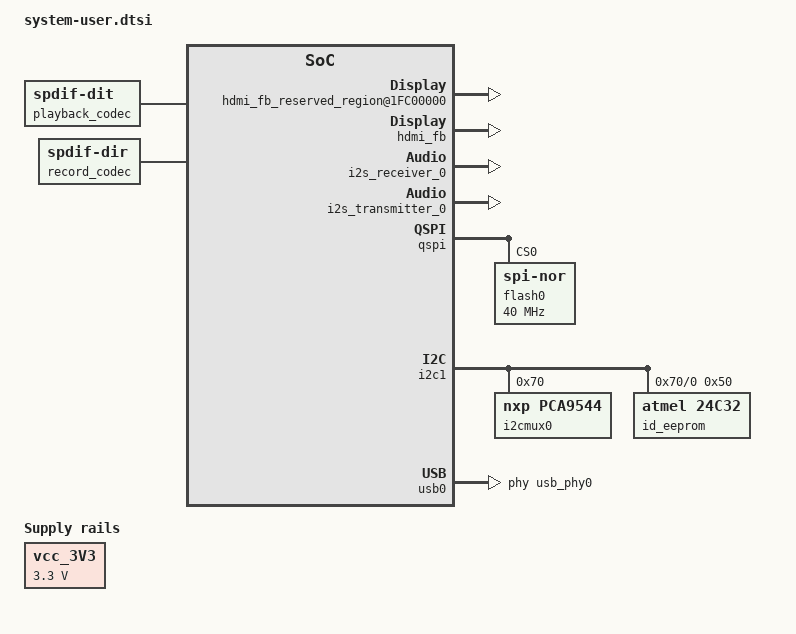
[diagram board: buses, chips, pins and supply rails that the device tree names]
/include/ "system-conf.dtsi"
/ {
};
    
    
/ {

    /*-------------------- FRAMBUFFER --------------------*/  
    #address-cells = <1>;
    #size-cells = <1>;
 
    reserved-memory {
        #address-cells = <1>;
        #size-cells = <1>;
        ranges;
        hdmi_fb_reserved_region@1FC00000 {
            //compatible = "removed-dma-pool";
            compatible = "shared-dma-pool";
            no-map;
            // 512M (M modules)
            reg = <0x1FC00000 0x400000>;
            // 128M (R modules)
            //reg = <0x7C00000 0x400000>;
        };
          
        // Second framebuffer for direct data streaming from camera to monitor is not needed.
          
        //camera_fb_reserved_region@1FC00000 {
        //    //compatible = "removed-dma-pool";
        //    compatible = "shared-dma-pool";
        //    no-map;
        //    // 512M (M modules)
        //    reg = <0x1FC00000 0x400000>;
        //    // 128M (R modules)
        //    //reg = <0x7800000 0x400000>;
        //};
                  
    };
    
    hdmi_fb: framebuffer@1FC00000 {           // HDMI out
        compatible = "simple-framebuffer";
        // 512M (M modules)
        reg = <0x1FC00000 (1280 * 720 * 4)>;    // 720p
        // 128M (R modules)
        //reg = <0x7C00000 (1280 * 720 * 4)>;   // 720p
        width = <1280>;                         // 720p
        height = <720>;                         // 720p
        stride = <(1280 * 4)>;                  // 720p
        format = "a8b8g8r8";
        status = "okay";
    };
      
    
    //camera_fb: framebuffer@0x1FC00000 {         // CAMERA in
    //    compatible = "simple-framebuffer";
    //    // 512M (M modules)
    //    reg = <0x1FC00000 (1280 * 720 * 4)>;    // 720p
    //    // 128M (R modules)
    //    //reg = <0x7800000 (1280 * 720 * 4)>;   // 720p
    //    width = <1280>;                         // 720p
    //    height = <720>;                         // 720p
    //    stride = <(1280 * 4)>;                  // 720p
    //    format = "a8b8g8r8";
    //};
    
    vcc_3V3: fixedregulator@0 {
        compatible = "regulator-fixed";
        regulator-name = "vccaux-supply";
        regulator-min-microvolt = <3300000>;
        regulator-max-microvolt = <3300000>;
        regulator-always-on;
    };
};
/*-------------------- QSPI --------------------*/     
&qspi {
    #address-cells = <1>;
    #size-cells = <0>;
    status = "okay";
    flash0: flash@0 {
        compatible = "jedec,spi-nor";
        reg = <0x0>;
        #address-cells = <1>;
        #size-cells = <1>;
         
        spi-rx-bus-width = <4>;
        spi-tx-bus-width = <4>;
        spi-max-frequency = <40000000>;
    };
};

/*-------------------- GPIO -------------------*/     
&gpio0 {
    interrupt-controller;
    #interrupt-cells = <2>;
};
/*-------------------- I2C --------------------*/     
&i2c1 {
    #address-cells = <1>;
    #size-cells = <0>;
    
    i2cmux0: i2cmux@70  {
        compatible = "nxp,pca9544";
        #address-cells = <1>;
        #size-cells = <0>;
        reg = <0x70>;
    
    
        i2c1@0 {
            #address-cells = <1>;
            #size-cells = <0>;
            reg = <0>;
    
            id_eeprom@50 {
                compatible = "atmel,24c32";
                reg = <0x50>;
            };
    
        };
        i2c1@1 {    // Display Interface Connector
            #address-cells = <1>;
            #size-cells = <0>;
            reg = <1>;
        };
        i2c1@2 {    // HDMI Interface Connector
            #address-cells = <1>;
            #size-cells = <0>;
            reg = <2>;
        };
        i2c1@3 {    // Camera Interface Connector
            #address-cells = <1>;
            #size-cells = <0>;
            reg = <3>;
        };
    };
    
};

/*-------------------- USB --------------------*/     
/{
    usb_phy0: usb_phy@0 {
        compatible = "ulpi-phy";
        #phy-cells = <0>;
        reg = <0xe0002000 0x1000>;
        view-port = <0x0170>;
        drv-vbus;
    };
};
    
&usb0 {
    usb-phy = <&usb_phy0>;
} ;

/*-------------------- AUDIO --------------------*/     
/*
* Sound configuration
*/
    
/{
  
    /* Use S/PDIF transmitter as codec required by simple-audio-card */
    playback_codec: playback-codec {
        compatible = "linux,spdif-dit";
        #sound-dai-cells = <0>;
    };
  
    /* Use S/PDIF receiver as codec required by simple-audio-card */
    record_codec: record-codec {
        compatible = "linux,spdif-dir";
        #sound-dai-cells = <0>;
    };
    sound {
        #address-cells = <1>;
        #size-cells = <0>;
  
        simple-audio-card,widgets =
            "Microphone", "In Jack",
            "Line", "Line In Jack",
            "Line", "Line Out Jack",
            "Headphone", "Out Jack";
    
        simple-audio-card,routing =
            "Out Jack", "te-out",
            "te-in", "In Jack";
  
        i2s_receiver_0:i2s_receiver@43C10000 {
           compatible = "xlnx,i2s-receiver-1.0";
           clock-names = "s_axi_ctrl_aclk", "aud_mclk", "m_axis_aud_aclk";
           aud_mclk = <4081632>;
           reg = <0x0 0x43C10000 0x0 0x10000>;
           //xlnx,dwidth = <0x18>;                  //I2S Data Width 24 bit   
           xlnx,dwidth = <0x10>;                    //I2S Data Width 16 bit
           xlnx,num-channels = <2>;
           xlnx,snd-pcm = <&audio_formatter_0>;
        };
          
        i2s_transmitter_0:i2s_transmitter@43C20000 {
             compatible = "xlnx,i2s-transmitter-1.0";
             clock-names = "s_axi_ctrl_aclk", "aud_mclk", "s_axis_aud_aclk";
             aud_mclk = <4081632>;
             reg = <0x0 0x43C20000 0x0 0x10000>;
             //xlnx,dwidth = <0x18>;                //I2S Data Width 24 bit
             xlnx,dwidth = <0x10>;                  //I2S Data Width 16 bit
             xlnx,num-channels = <2>;
             xlnx,snd-pcm = <&audio_formatter_0>;
        };
          
        audio_formatter_0:audio_formatter@43C00000 {
            compatible = "xlnx,audio-formatter-1.0";
            interrupt-names = "irq_mm2s", "irq_s2mm";
            reg = <0x0 0x43C00000 0x0 0x1000>;
            xlnx,tx = <&i2s_transmitter_0>;
            xlnx,rx = <&i2s_receiver_0>;
            clock-names = "s_axi_lite_aclk", "m_axis_mm2s_aclk", "aud_mclk", "s_axis_s2mm_aclk";
            aud_mclk = <12307691>;
        };
        playback_link: simple-audio-card,dai-link@0 {
            reg = <0>;
            format = "i2s";
  
            bitclock-master = <&p_codec_dai>;
            frame-master = <&p_codec_dai>;
  
            p_cpu_dai: cpu {
                sound-dai = <&i2s_transmitter_0>;
            };
  
            p_platform_dai: plat {
                sound-dai = <&audio_formatter_0>;
            };
  
            p_codec_dai: codec {
                sound-dai = <&playback_codec>;
            };
        };
        record_link: simple-audio-card,dai-link@1 {
            reg = <1>;
            format = "i2s";
  
            bitclock-master = <&r_codec_dai>;
            frame-master = <&r_codec_dai>;
  
            r_cpu_dai: cpu {
                sound-dai = <&i2s_receiver_0>;
            };
  
            r_platform_dai: plat {
                sound-dai = <&audio_formatter_0>;
            };
  
            r_codec_dai: codec {
                sound-dai = <&record_codec>;
            };
        };      
    };  
};
  
/*-------------------- ADC --------------------*/   
    
/*
* We need to disable Linux XADC driver to use XADC for audio recording
*/
&adc {
    status = "disabled";
};
  
      
